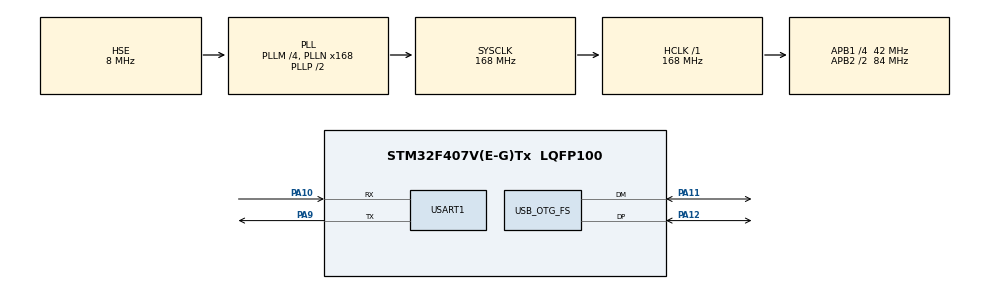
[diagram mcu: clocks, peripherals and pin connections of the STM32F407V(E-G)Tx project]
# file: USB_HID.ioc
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Mcu.Family=STM32F4
Mcu.Name=STM32F407V(E-G)Tx
Mcu.Package=LQFP100
NVIC.OTG_FS_IRQn=true\:0\:0\:false\:false\:true\:false\:true\:true
NVIC.PriorityGroup=NVIC_PRIORITYGROUP_4
NVIC.USART1_IRQn=true\:0\:0\:false\:false\:true\:true\:true\:true
PA10.Mode=Asynchronous
PA10.Signal=USART1_RX
PA11.Mode=Device_Only
PA11.Signal=USB_OTG_FS_DM
PA12.Mode=Device_Only
PA12.Signal=USB_OTG_FS_DP
PA13.Mode=Serial_Wire
PA13.Signal=SYS_JTMS-SWDIO
PA14.Mode=Serial_Wire
PA14.Signal=SYS_JTCK-SWCLK
PA9.Mode=Asynchronous
PA9.Signal=USART1_TX
PH0-OSC_IN.Mode=HSE-External-Oscillator
PH0-OSC_IN.Signal=RCC_OSC_IN
PH1-OSC_OUT.Mode=HSE-External-Oscillator
PH1-OSC_OUT.Signal=RCC_OSC_OUT
ProjectManager.HeapSize=0x200
ProjectManager.StackSize=0x400
ProjectManager.TargetToolchain=MDK-ARM V5.32
RCC.48MHZClocksFreq_Value=48000000
RCC.AHBFreq_Value=168000000
RCC.APB1CLKDivider=RCC_HCLK_DIV4
RCC.APB1Freq_Value=42000000
RCC.APB1TimFreq_Value=84000000
RCC.APB2CLKDivider=RCC_HCLK_DIV2
RCC.APB2Freq_Value=84000000
RCC.APB2TimFreq_Value=168000000
RCC.CortexFreq_Value=168000000
RCC.HCLKFreq_Value=168000000
RCC.HSE_VALUE=8000000
RCC.HSI_VALUE=16000000
RCC.LSE_VALUE=32768
RCC.PLLM=4
RCC.PLLN=168
RCC.PLLQ=7
RCC.SYSCLKFreq_VALUE=168000000
RCC.SYSCLKSource=RCC_SYSCLKSOURCE_PLLCLK
RCC.VCOOutputFreq_Value=336000000
USART1.VirtualMode=VM_ASYNC
USB_DEVICE.CLASS_NAME_FS=CUSTOM_HID
USB_DEVICE.PID_CUSTOMHID_FS=22352
USB_DEVICE.USBD_CUSTOMHID_OUTREPORT_BUF_SIZE-CUSTOM_HID_FS=64
USB_DEVICE.USBD_CUSTOM_HID_REPORT_DESC_SIZE-CUSTOM_HID_FS=33
USB_DEVICE.VID-CUSTOM_HID_FS=1155
USB_DEVICE.VirtualMode-CUSTOM_HID_FS=CustomHid
USB_DEVICE.VirtualModeFS=Custom_Hid_FS
USB_OTG_FS.VirtualMode=Device_Only
VP_USB_DEVICE_VS_USB_DEVICE_CUSTOM_HID_FS.Mode=CUSTOM_HID_FS
board=custom

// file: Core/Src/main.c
/* USER CODE BEGIN Header */
/**
  ******************************************************************************
  * @file           : main.c
  * @brief          : Main program body
  ******************************************************************************
  * @attention
  *
  * Copyright (c) 2025 STMicroelectronics.
  * All rights reserved.
  *
  * This software is licensed under terms that can be found in the LICENSE file
  * in the root directory of this software component.
  * If no LICENSE file comes with this software, it is provided AS-IS.
  *
  ******************************************************************************
  */
/* USER CODE END Header */
#include "main.h"
#include "usart.h"
#include "usb_device.h"
#include "gpio.h"

/* USER CODE BEGIN Includes */
#include "usbd_custom_hid_if.h"
/* USER CODE END Includes */

/* USER CODE BEGIN PTD */
unsigned char USB_Recive_Buffer[64];
unsigned char USB_Received_Count = 0;

/* USER CODE END PTD */

void SystemClock_Config(void);

/* USER CODE BEGIN 0 */
uint8_t buff[64] ={0};
void test_circular_buffer();
int fputc(int ch, FILE *f)
{
  HAL_UART_Transmit(&huart1, (uint8_t *)&ch, 1, 0xffff);
  return ch;
}
/* USER CODE END 0 */

int main(void)
{

  /* MCU Configuration--------------------------------------------------------*/

  /* Reset of all peripherals, Initializes the Flash interface and the Systick. */
  HAL_Init();

  /* Configure the system clock */
  SystemClock_Config();

  /* Initialize all configured peripherals */
  MX_GPIO_Init();
  MX_USART1_UART_Init();
  MX_USB_DEVICE_Init();
  /* USER CODE BEGIN 2 */
  for(uint8_t j=0;j<64;j++)
  {
	  buff[j]=j;
  }
  /* USER CODE END 2 */

  /* Infinite loop */
  /* USER CODE BEGIN WHILE */
  printf("开始测试环形缓冲区\n");
  test_circular_buffer();
  printf("测试完成\n");
  while (1)
  {
    /* USER CODE END WHILE */

    /* USER CODE BEGIN 3 */

    DEBUG_PRINT("circle_range_test\n");
      HAL_Delay(1000);
		}
  /* USER CODE END 3 */
}

void SystemClock_Config(void)
{
  RCC_OscInitTypeDef RCC_OscInitStruct = {0};
  RCC_ClkInitTypeDef RCC_ClkInitStruct = {0};

  /** Configure the main internal regulator output voltage
  */
  __HAL_RCC_PWR_CLK_ENABLE();
  __HAL_PWR_VOLTAGESCALING_CONFIG(PWR_REGULATOR_VOLTAGE_SCALE1);

  /** Initializes the RCC Oscillators according to the specified parameters
  * in the RCC_OscInitTypeDef structure.
  */
  RCC_OscInitStruct.OscillatorType = RCC_OSCILLATORTYPE_HSE;
  RCC_OscInitStruct.HSEState = RCC_HSE_ON;
  RCC_OscInitStruct.PLL.PLLState = RCC_PLL_ON;
  RCC_OscInitStruct.PLL.PLLSource = RCC_PLLSOURCE_HSE;
  RCC_OscInitStruct.PLL.PLLM = 4;
  RCC_OscInitStruct.PLL.PLLN = 168;
  RCC_OscInitStruct.PLL.PLLP = RCC_PLLP_DIV2;
  RCC_OscInitStruct.PLL.PLLQ = 7;
  if (HAL_RCC_OscConfig(&RCC_OscInitStruct) != HAL_OK)
  {
    Error_Handler();
  }

  /** Initializes the CPU, AHB and APB buses clocks
  */
  RCC_ClkInitStruct.ClockType = RCC_CLOCKTYPE_HCLK|RCC_CLOCKTYPE_SYSCLK
                              |RCC_CLOCKTYPE_PCLK1|RCC_CLOCKTYPE_PCLK2;
  RCC_ClkInitStruct.SYSCLKSource = RCC_SYSCLKSOURCE_PLLCLK;
  RCC_ClkInitStruct.AHBCLKDivider = RCC_SYSCLK_DIV1;
  RCC_ClkInitStruct.APB1CLKDivider = RCC_HCLK_DIV4;
  RCC_ClkInitStruct.APB2CLKDivider = RCC_HCLK_DIV2;

  if (HAL_RCC_ClockConfig(&RCC_ClkInitStruct, FLASH_LATENCY_5) != HAL_OK)
  {
    Error_Handler();
  }
}

/* USER CODE BEGIN 4 */
void test_circular_buffer() {
  circular_buffer cb;
  size_t length_to_read;
  size_t written_len1, written_len2; // 用于记录实际写入长度
  bool result; // 用于存储函数调用结果

  const size_t buffer_size = 16; // Buffer size (power of 2 recommended)
  char write_data1[] = "Msg1."; // 第一个消息
  char write_data2[] = "SecondMsg."; // 第二个消息
  char read_buffer[buffer_size + 1]; // Read buffer (+1 for null terminator)

  printf("--- Circular Buffer Test: Multiple Messages ---\n");

  // 1. 初始化
  if (!circular_buffer_init(&cb, buffer_size)) {
      printf("FAIL: Failed to initialize circular buffer\n");
      return;
  }
  printf("PASS: Initialization successful. Size: %zu\n", buffer_size);

  // 2. 写入第一个消息
  written_len1 = strlen(write_data1);
  printf("Writing message 1: '%s' (%zu bytes)\n", write_data1, written_len1);
  result = circular_buffer_write(&cb, write_data1, written_len1);
  if (result) {
      printf("PASS: Write 1 successful. Current length: %zu\n", circular_buffer_length(&cb));
  } else {
      printf("FAIL: Write 1 failed.\n");
      circular_buffer_free(&cb);
      return;
  }

  // 3. 写入第二个消息
  written_len2 = strlen(write_data2);
  printf("Writing message 2: '%s' (%zu bytes)\n", write_data2, written_len2);
  result = circular_buffer_write(&cb, write_data2, written_len2);
   if (result) {
      printf("PASS: Write 2 successful. Current length: %zu\n", circular_buffer_length(&cb));
  } else {
      // 如果第二次写入失败（例如缓冲区空间不足），打印警告但继续测试读取
      printf("WARN: Write 2 failed (Buffer might be full). Current length: %zu\n", circular_buffer_length(&cb));
      // 根据您的环形缓冲区实现，如果写入失败不应改变长度，这里可能需要调整
      // 如果部分写入是可能的，需要更复杂的处理来知道实际写入了多少
  }

  // 4. 读取第一个消息
  length_to_read = written_len1; // 尝试读取第一个消息的长度
  printf("Reading message 1 (%zu bytes)\n", length_to_read);
  memset(read_buffer, 0, sizeof(read_buffer)); // 清空读取缓冲区
  result = circular_buffer_read(&cb, read_buffer, length_to_read);
  if (result) {
      read_buffer[length_to_read] = '\0'; // Null terminate
      printf("PASS: Read 1 successful. Data: '%s'. Remaining length: %zu\n", read_buffer, circular_buffer_length(&cb));
      if (strcmp(read_buffer, write_data1) != 0) {
          printf("FAIL: Data verification for message 1 failed!\n");
      }
  } else {
      printf("FAIL: Read 1 failed. Remaining length: %zu\n", circular_buffer_length(&cb));
  }

  // 5. 读取第二个消息
  // 注意：如果第二次写入失败或部分成功，这里的读取长度需要调整
  // 这个示例假设第二次写入完全成功
  length_to_read = written_len2; // 尝试读取第二个消息的长度
  printf("Reading message 2 (%zu bytes)\n", length_to_read);
  memset(read_buffer, 0, sizeof(read_buffer)); // 清空读取缓冲区
  result = circular_buffer_read(&cb, read_buffer, length_to_read);
   if (result) {
      read_buffer[length_to_read] = '\0'; // Null terminate
      printf("PASS: Read 2 successful. Data: '%s'. Remaining length: %zu\n", read_buffer, circular_buffer_length(&cb));
       if (strcmp(read_buffer, write_data2) != 0) {
          printf("FAIL: Data verification for message 2 failed!\n");
      }
  } else {
      // 如果第二次写入失败，那么这里读取失败是正常的
      printf("INFO/FAIL: Read 2 failed (Maybe expected if write 2 failed). Remaining length: %zu\n", circular_buffer_length(&cb));
  }

  // 6. 检查缓冲区最终是否为空
  printf("Final check: Is buffer empty? %s\n", circular_buffer_is_empty(&cb) ? "Yes" : "No");
  if (!circular_buffer_is_empty(&cb)) {
       printf("WARN: Buffer is not empty at the end. Length: %zu\n", circular_buffer_length(&cb));
       // 可以尝试读取剩余数据以清空
       // size_t remaining = circular_buffer_length(&cb);
       // circular_buffer_read(&cb, read_buffer, remaining);
  }

  // 7. 释放缓冲区
  circular_buffer_free(&cb);
  printf("Circular buffer freed\n");
  printf("--- Test Finished ---\n");
}
/* USER CODE END 4 */

void Error_Handler(void)
{
  __disable_irq();
  while (1)
  {
  }
}
